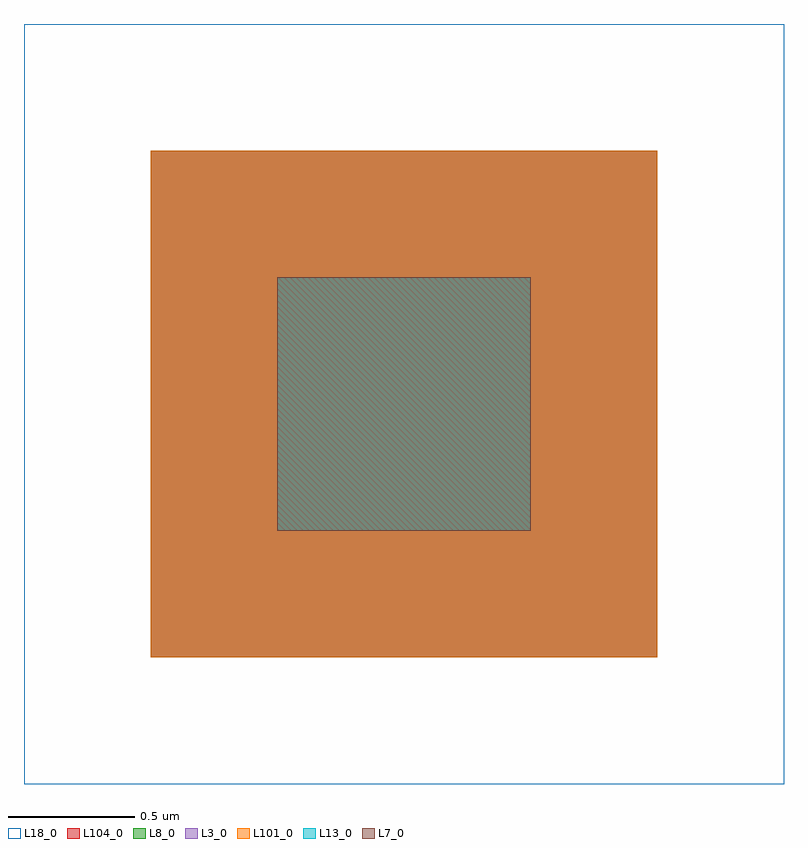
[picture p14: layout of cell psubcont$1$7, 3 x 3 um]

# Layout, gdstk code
import gdstk
lib = gdstk.Library(unit=1e-6, precision=1e-07)
def R(c, l, rs):  # rectangles x0, y0, x1, y1
    for r in rs: c.add(gdstk.rectangle(r[:2], r[2:], *l))
L3_0 = (3, 0)
L7_0 = (7, 0)
L8_0 = (8, 0)
L13_0 = (13, 0)
L18_0 = (18, 0)
L101_0 = (101, 0)
L104_0 = (104, 0)

dcont1_1_6 = lib.new_cell('dcont1$1$6')
R(dcont1_1_6, L3_0, [(-1,-1,1,1)])
R(dcont1_1_6, L7_0, [(-0.5,-0.5,0.5,0.5)])
R(dcont1_1_6, L8_0, [(-1,-1,1,1)])
R(dcont1_1_6, L13_0, [(-0.5,-0.5,0.5,0.5)])
R(dcont1_1_6, L101_0, [(-1,-1,1,1)])

psubcont_1_7 = lib.new_cell('psubcont$1$7')
R(psubcont_1_7, L18_0, [(-1.5,-1.5,1.5,1.5)])
R(psubcont_1_7, L104_0, [(-1,-1,1,1)])
psubcont_1_7.add(gdstk.Reference(dcont1_1_6, (0,0)))

lib.write_gds('psubcont_1_7.gds')
